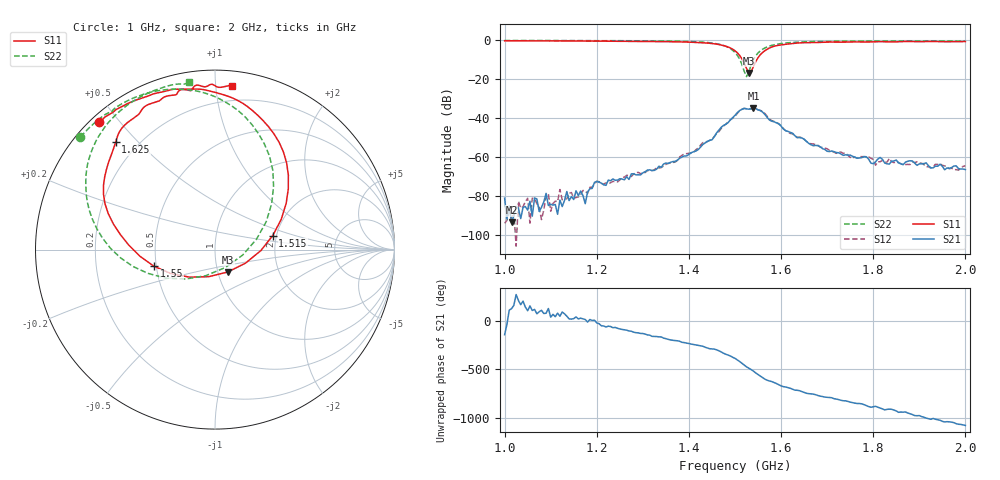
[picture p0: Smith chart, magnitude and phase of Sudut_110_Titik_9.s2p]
# Hz S RI R 50
! CMT, C1220, 16058040, 17.2.0/1
! Date: 14/08/2018 11:55:48
! Data: Format (Calibration Info)
! Freq  S11: Re/Im (F2)  S21: Re/Im (F2)  S12: Re/Im (F2)  S22: Re/Im (F2)
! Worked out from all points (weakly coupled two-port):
!   201 points, 1 GHz to 2 GHz, reference 50 ohm
!   highest |S21| = -35.10 dB at 1.54 GHz (marker M1); lowest = -93.8 dB at 1.015 GHz (marker M2)
!   lowest |S11| = -16.9 dB at 1.53 GHz (marker M3), VSWR 1.34, Z = 55.7 - j14.2 ohm
!   |S11| at or under -10 dB: 1.516 GHz to 1.548 GHz (31.75 MHz wide, 2.07 % of centre)
!   |S22| runs from -18.8 to -0.2 dB; largest |S21 - S12| = 0.00082
!   S11 on the Smith chart (normalised r, x): 1 GHz: 0.02, +0.44; 1.515 GHz: 1.91, +0.34; 1.55 GHz: 0.48, -0.10; 1.625 GHz: 0.12, +0.43; 2 GHz: 0.10, +1.10
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1e9  -0.6439 0.7113  -6.97e-05 -5.12e-05  1.91e-05 3.84e-06  -0.7498 0.6272
1.015e9  -0.6264 0.7245  -1.21e-05 1.65e-05  2.59e-05 -4.38e-06  -0.7394 0.6385
1.17e9  -0.4717 0.8204  9.48e-05 3.49e-05  0.000126 5.05e-05  -0.6122 0.7523
1.18e9  -0.455 0.8274  0.000119 -2.69e-05  0.000112 2.1e-05  -0.6008 0.7586
1.2e9  -0.4289 0.8364  0.000217 -8.38e-05  0.000223 -6.98e-05  -0.5781 0.7655
1.22e9  -0.4096 0.8433  8.3e-05 -0.000164  0.000129 -0.000169  -0.5671 0.7792
1.335e9  -0.2142 0.8936  -0.000554 -0.000139  -0.000509 -7.57e-05  -0.3956 0.8662
1.45e9  0.182 0.7962  0.000956 0.00254  0.00115 0.00257  0.0277 0.8387
1.5e9  0.4086 0.3394  0.0102 -0.00544  0.00963 -0.00523  0.3263 0.3517
1.515e9  0.3218 0.0783  0.00317 -0.0162  0.00351 -0.0163  0.2307 0.057
1.525e9  0.1694 -0.0759  -0.00736 -0.0153  -0.00735 -0.0155  0.0579 -0.0996
1.53e9  0.0707 -0.125  -0.0106 -0.0129  -0.0106 -0.013  -0.0506 -0.1451
1.54e9  -0.1417 -0.1536  -0.0165 -0.00613  -0.0163 -0.00611  -0.2744 -0.159
1.55e9  -0.3407 -0.0924  -0.0155 0.00422  -0.0156 0.00356  -0.4565 -0.0943
1.58e9  -0.6129 0.2561  -0.000283 0.00818  1.08e-05 0.00843  -0.7001 0.2176
1.625e9  -0.553 0.5984  0.00391 0.000932  0.00374 0.000996  -0.6971 0.5221
1.67e9  -0.4405 0.7414  0.00151 -0.00118  0.00168 -0.00132  -0.6202 0.674
1.79e9  -0.2132 0.866  -0.000843 -0.00021  -0.000956 -0.00028  -0.4316 0.8413
1.805e9  -0.2014 0.8844  -0.000709 -0.000211  -0.000603 -3.71e-05  -0.4102 0.8537
1.835e9  -0.1445 0.8865  -0.000633 0.000146  -0.000869 0.000245  -0.3697 0.8735
1.925e9  -0.0231 0.9208  0.00024 0.000462  0.000112 0.000497  -0.2443 0.9164
2e9  0.0941 0.9114  0.000468 -9.58e-06  0.000585 -1.54e-05  -0.1464 0.931
